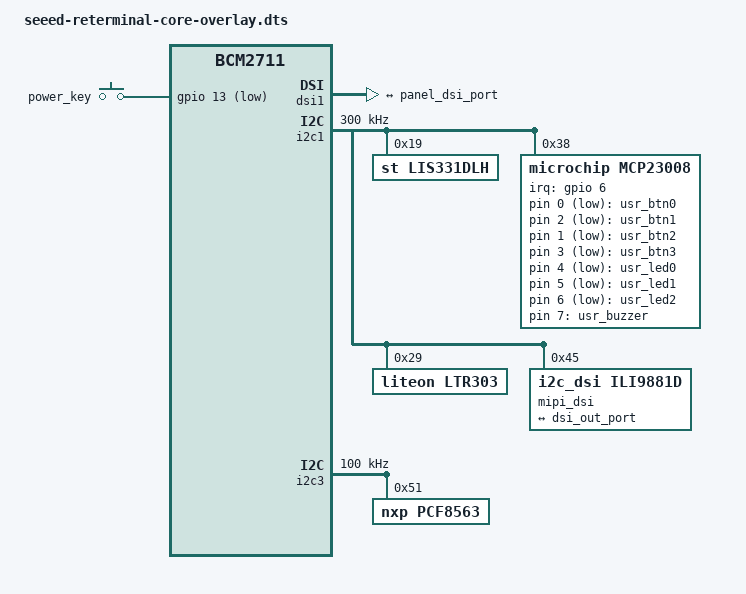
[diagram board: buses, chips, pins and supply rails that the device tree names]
/*
 * Copyright (C) 2021 Seeed Studio
 * Zhangqun Ming <north_sea@qq.com>
 *
 * MIT License
 *
 */
/dts-v1/;
/plugin/;

/ {
    compatible = "brcm,bcm2711";

    fragment@0 {
        target-path="/";
        __overlay__ {
            hardware = "reTerminal V1.6";
        };
    };

	fragment@1 {
		target = <&dsi1>;
		__overlay__ {
			#address-cells = <1>;
			#size-cells = <0>;
			status = "okay";

			port {
				dsi_out_port: endpoint {
					remote-endpoint = <&panel_dsi_port>;
				};
			};
		};
	};
	
	fragment@2 {
		target = <&gpio>;
		__overlay__ {
			power_key: power_key {
				brcm,pins = <13>;    /* gpio number */
				brcm,function = <0>; /* 0 = input, 1 = output */
				brcm,pull = <2>;     /* 0 = none, 1 = pull down, 2 = pull up */
			};

			mcp23008_pins: mcp23008_pins@20 {
				brcm,pins = <6>;     /* gpio number */
				brcm,function = <0>; /* 0 = input, 1 = output */
				brcm,pull = <2>;     /* 0 = none, 1 = pull down, 2 = pull up */
			};
		};
	};

	fragment@3 {
		target = <&mcp23008>;
		mcp23008_irq: __overlay__ {
			#interrupt-cells=<2>;
			interrupt-parent = <&gpio>;
			interrupts = <6 2>; /* IRQ_TYPE_EDGE_FALLING */
			interrupt-controller;
			microchip,irq-mirror;
		};
	};

	fragment@4 {
		target = <&i2c1>;
		__overlay__ {
			status = "okay";

			/* this is the configuration part */
			clock-frequency = <300000>;

			#address-cells = <1>;
			#size-cells = <0>;
			
			lis331dlh@19 {
				compatible = "st,lis331dlh";
				reg = <0x19>;
				status = "okay";
			};
			
			mcp23008: mcp@20 {
				compatible = "microchip,mcp23008","nxp,pca9554";
				reg = <0x38>;
				status = "okay";

				gpio-controller;
				#gpio-cells = <2>;

				input_pins: pinmux {
					pins =
						"gpio0",
						"gpio1",
						"gpio2",
						"gpio3";
					bias-pull-up;
				};
			};

			ltr303@29 {
				compatible = "liteon,ltr303";
				reg = <0x29>;
				status = "okay";
			};
			
			mipi_dsi: mipi_dsi@45 {
				compatible = "i2c_dsi,ili9881d";
				reg = <0x45>;
				
				mcu_auto_reset_enable = <0>;
				tp_point_rotate = <0>;

				port {
					panel_dsi_port: endpoint {
						remote-endpoint = <&dsi_out_port>;
					};
				};
			};
		};
	};

	fragment@5 {
		target = <&i2c3>;
		__overlay__ {
			status = "okay";

			/* this is the configuration part */
			clock-frequency = <100000>;

			#address-cells = <1>;
			#size-cells = <0>;
			
			pcf8563@51 {
				compatible = "nxp,pcf8563";
				reg = <0x51>;
			};
		};
	};

	fragment@6 {
		target = <&leds>;
		__overlay__ {
			compatible = "gpio-leds";

			usr_led0: usr_led0 {
				label = "usr_led0";
				linux,default-trigger = "default-off";
				gpios = <&mcp23008 4 1>;
			};

			usr_led1: usr_led1 {
				label = "usr_led1";
				linux,default-trigger = "default-off";
				gpios = <&mcp23008 5 1>;
			};

			usr_led2: usr_led2 {
				label = "usr_led2";
				linux,default-trigger = "default-off";
				gpios = <&mcp23008 6 1>;
			};

			usr_buzzer: usr_led3 {
				label = "usr_buzzer";
				linux,default-trigger = "default-off";
				gpios = <&mcp23008 7 0>;
				default-state = "off";
			};
		};
	};

	fragment@7 {
		target-path="/";
		__overlay__ {
			gpio_keys:gpio_keys {
				compatible = "gpio-keys";
				pinctrl-names = "default";
				status = "okay";

				usr_btn0: usr_btn0 {
					debounce-interval = <5>;
					linux,code = <30>; /* BTN_0, KEY_A */
					label = "usr_btn0";
					gpios = <&mcp23008 0 1>;
					gpio-key,wakeup;
					autorepeat;
				};

				usr_btn1: usr_btn1 {
					debounce-interval = <5>;
					linux,code = <31>; /* BTN_1, KEY_S */
					label = "usr_btn1";
					gpios = <&mcp23008 2 1>;
					gpio-key,wakeup;
					autorepeat;
				};

				usr_btn2: usr_btn2 {
					debounce-interval = <5>;
					linux,code = <32>; /* BTN_2, KEY_D */
					label = "usr_btn2";
					gpios = <&mcp23008 1 1>;
					gpio-key,wakeup;
					autorepeat;
				};

				usr_btn3: usr_btn3 {
					debounce-interval = <5>;
					linux,code = <33>; /* BTN_3, KEY_F */
					label = "usr_btn3";
					gpios = <&mcp23008 3 1>;
					gpio-key,wakeup;
					autorepeat;
				};

				pwr_btn: pwr_btn {
					debounce-interval = <5>;
					linux,code = <142>; /* PWR_KEY, KEY_SLEEP */
					label = "power_key";
					gpios = <&gpio 13 1>;
					gpio-key,wakeup;
					autorepeat;
				};
			};
		};
	};
	fragment@8 {
		target = <&gpio_keys>;
		patch:__overlay__ {
			pinctrl-0 = <>;
		};
	}; 


	__overrides__ {
		int = <&mcp23008_pins>,"brcm,pins:0",
				<&mcp23008_irq>,"interrupts:0";
		addr = <&mcp23008>,"reg:0", 
				<&mcp23008_pins>,"reg:0";
		noints = <0>,"!1!2";

		key0 = <&usr_btn0>,"linux,code:0";
		key1 = <&usr_btn1>,"linux,code:0";
		key2 = <&usr_btn2>,"linux,code:0";
		key3 = <&usr_btn3>,"linux,code:0";

		mcu_auto_reset = <&mipi_dsi>,"mcu_auto_reset_enable:0";
		tp_rotate = <&mipi_dsi>,"tp_point_rotate:0";
		mcp23008 = <&patch>,"pinctrl-0:0=",<&input_pins>;
	};
};

